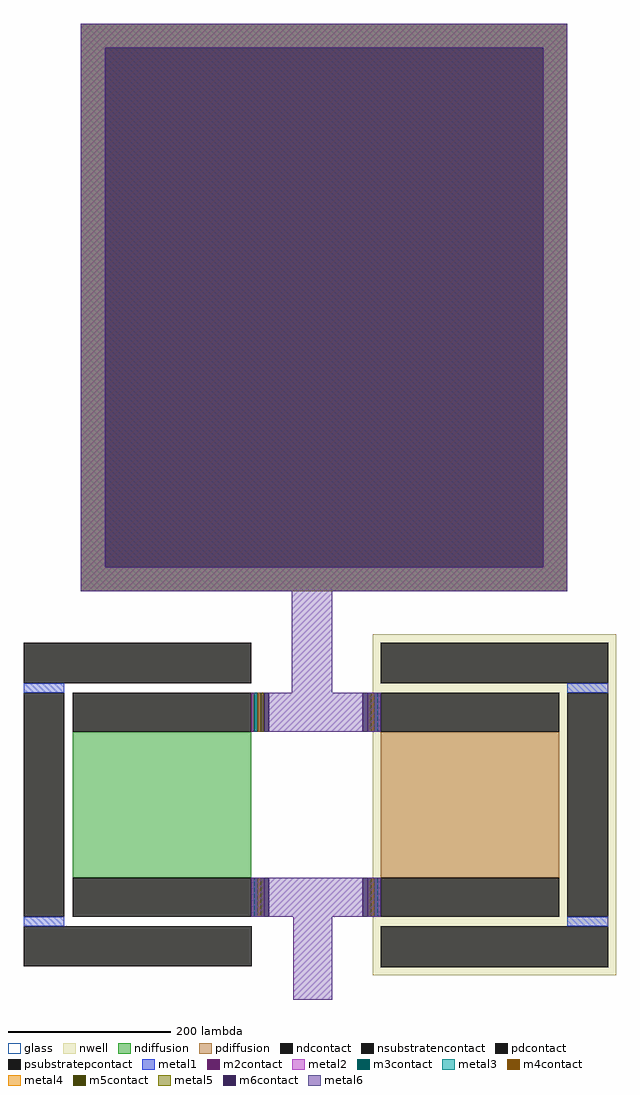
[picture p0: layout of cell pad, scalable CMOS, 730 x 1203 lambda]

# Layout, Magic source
magic
tech scmos
<< nwell >>
rect 106 -794 406 -374
<< ndiffusion >>
rect -264 -674 -44 -494
<< pdiffusion >>
rect 116 -674 336 -494
<< ndcontact >>
rect -264 -494 -44 -446
rect -264 -722 -44 -674
<< pdcontact >>
rect 116 -494 336 -446
rect 116 -722 336 -674
<< psubstratepcontact >>
rect -324 -434 -44 -384
rect -324 -722 -274 -446
rect -324 -783 -43 -734
<< nsubstratencontact >>
rect 116 -434 396 -384
rect 346 -722 396 -446
rect 116 -784 396 -734
<< metal1 >>
rect -254 -321 346 379
rect -324 -446 -274 -434
rect 346 -446 396 -434
rect -324 -734 -274 -722
rect 346 -734 396 -722
<< m2contact >>
rect -44 -494 -40 -446
rect 112 -494 116 -446
rect -44 -722 -40 -674
rect 112 -722 116 -674
<< metal2 >>
rect -254 -321 346 379
<< m3contact >>
rect -40 -494 -36 -446
rect 108 -494 112 -446
rect -40 -722 -36 -674
rect 108 -722 112 -674
<< metal3 >>
rect -254 -321 346 379
<< m4contact >>
rect -36 -494 -32 -446
rect 104 -494 108 -446
rect -36 -722 -32 -674
rect 104 -722 108 -674
<< metal4 >>
rect -254 -321 346 379
<< m5contact >>
rect -32 -494 -28 -446
rect 100 -494 104 -446
rect -32 -722 -28 -674
rect 100 -722 104 -674
<< metal5 >>
rect -254 349 346 379
rect -254 -291 -224 349
rect 316 -291 346 349
rect -254 -321 346 -291
<< m6contact >>
rect -224 -291 316 349
rect -28 -494 -22 -446
rect 94 -494 100 -446
rect -28 -722 -22 -674
rect 94 -722 100 -674
<< metal6 >>
rect -254 349 346 379
rect -254 -291 -224 349
rect 316 -291 346 349
rect -254 -321 346 -291
rect 6 -446 56 -321
rect -22 -494 94 -446
rect 100 -494 116 -446
rect -44 -722 -28 -674
rect -22 -722 94 -674
rect 100 -722 116 -674
rect 8 -824 56 -722
<< glass >>
rect -224 -291 316 349
<< end >>
